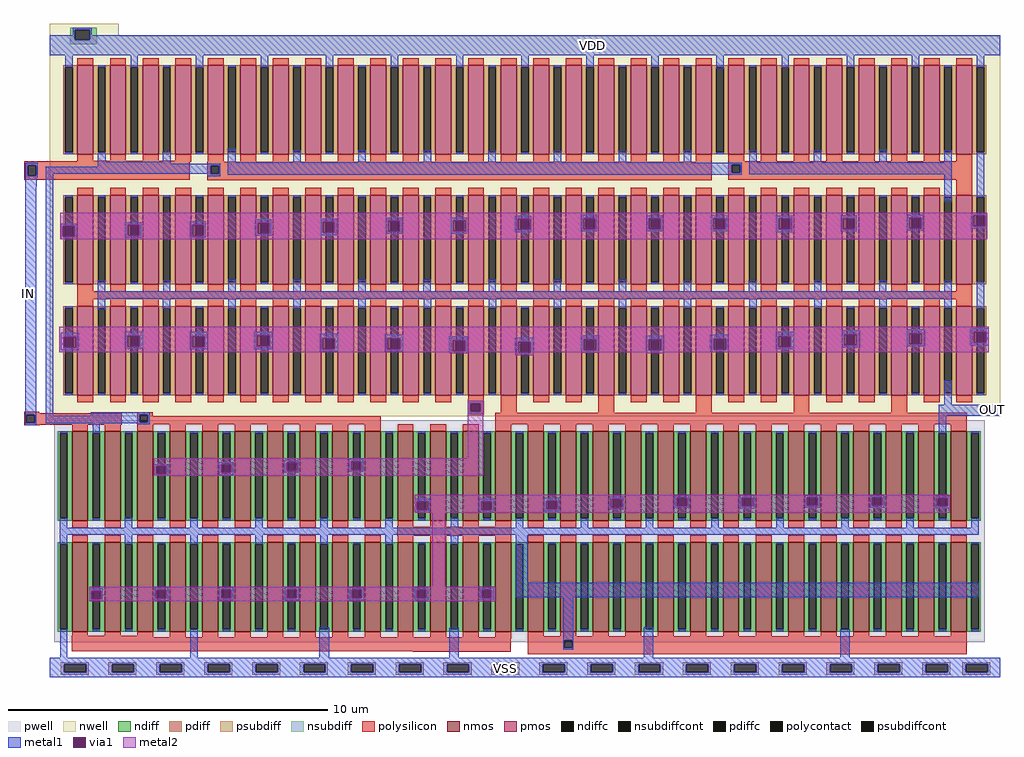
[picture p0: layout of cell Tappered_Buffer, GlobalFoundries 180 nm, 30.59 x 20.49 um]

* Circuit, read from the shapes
.subckt Tappered_Buffer VDD IN OUT VSS
XM1 OUT n1 VSS VSS nfet_03v3 w=2.8u l=0.5u m=32
XM2 n2 IN VSS VSS nfet_03v3 w=2.8u l=0.5u m=2
XM3 n1 n2 VSS VSS nfet_03v3 w=2.8u l=0.5u m=8
XM4 VSS VSS VSS VSS nfet_03v3 w=2.8u l=0.5u m=14
XM5 OUT n1 VDD VDD pfet_03v3 w=2.8u l=0.5u m=64
XM6 n2 IN VDD VDD pfet_03v3 w=2.8u l=0.5u m=4
XM7 n1 n2 VDD VDD pfet_03v3 w=2.8u l=0.5u m=16
.ends

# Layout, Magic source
magic
tech gf180mcuC
magscale 1 10
<< nwell >>
rect 0 875 434 950
rect 0 820 5956 875
rect 0 770 608 820
rect 673 770 852 820
rect 918 770 1097 820
rect 1162 770 1341 820
rect 1407 770 1586 820
rect 1652 770 1831 820
rect 1896 770 2075 820
rect 2141 770 2320 820
rect 2386 770 2565 820
rect 2630 770 2809 820
rect 2885 785 2886 820
rect 2885 772 3062 785
rect 3313 772 3495 820
rect 3733 772 3915 820
rect 4155 772 4337 820
rect 4577 772 4759 820
rect 5052 772 5234 820
rect 5527 772 5709 820
rect 0 752 434 770
<< pwell >>
rect 2920 -2260 2970 -2254
rect 3327 -2260 3381 -2253
rect 3735 -2260 3791 -2252
rect 4144 -2260 4198 -2253
rect 4551 -2260 4605 -2254
rect 4959 -2260 5014 -2254
rect 5368 -2260 5429 -2254
<< psubdiff >>
rect 68 -3064 244 -3051
rect 68 -3115 91 -3064
rect 228 -3115 244 -3064
rect 68 -3130 244 -3115
rect 368 -3064 544 -3051
rect 368 -3115 391 -3064
rect 528 -3115 544 -3064
rect 368 -3130 544 -3115
rect 668 -3064 844 -3051
rect 668 -3115 691 -3064
rect 828 -3115 844 -3064
rect 668 -3130 844 -3115
rect 968 -3064 1144 -3051
rect 968 -3115 991 -3064
rect 1128 -3115 1144 -3064
rect 968 -3130 1144 -3115
rect 1268 -3064 1444 -3051
rect 1268 -3115 1291 -3064
rect 1428 -3115 1444 -3064
rect 1268 -3130 1444 -3115
rect 1568 -3064 1744 -3051
rect 1568 -3115 1591 -3064
rect 1728 -3115 1744 -3064
rect 1568 -3130 1744 -3115
rect 1868 -3064 2044 -3051
rect 1868 -3115 1891 -3064
rect 2028 -3115 2044 -3064
rect 1868 -3130 2044 -3115
rect 2168 -3064 2344 -3051
rect 2168 -3115 2191 -3064
rect 2328 -3115 2344 -3064
rect 2168 -3130 2344 -3115
rect 2468 -3064 2644 -3051
rect 2468 -3115 2491 -3064
rect 2628 -3115 2644 -3064
rect 2468 -3130 2644 -3115
rect 2768 -3064 2944 -3051
rect 2768 -3115 2791 -3064
rect 2928 -3115 2944 -3064
rect 2768 -3130 2944 -3115
rect 3068 -3064 3244 -3051
rect 3068 -3115 3091 -3064
rect 3228 -3115 3244 -3064
rect 3068 -3130 3244 -3115
rect 3368 -3064 3544 -3051
rect 3368 -3115 3391 -3064
rect 3528 -3115 3544 -3064
rect 3368 -3130 3544 -3115
rect 3668 -3064 3844 -3051
rect 3668 -3115 3691 -3064
rect 3828 -3115 3844 -3064
rect 3668 -3130 3844 -3115
rect 3968 -3064 4144 -3051
rect 3968 -3115 3991 -3064
rect 4128 -3115 4144 -3064
rect 3968 -3130 4144 -3115
rect 4268 -3064 4444 -3051
rect 4268 -3115 4291 -3064
rect 4428 -3115 4444 -3064
rect 4268 -3130 4444 -3115
rect 4568 -3064 4744 -3051
rect 4568 -3115 4591 -3064
rect 4728 -3115 4744 -3064
rect 4568 -3130 4744 -3115
rect 4868 -3064 5044 -3051
rect 4868 -3115 4891 -3064
rect 5028 -3115 5044 -3064
rect 4868 -3130 5044 -3115
rect 5168 -3064 5344 -3051
rect 5168 -3115 5191 -3064
rect 5328 -3115 5344 -3064
rect 5168 -3130 5344 -3115
rect 5468 -3064 5644 -3051
rect 5468 -3115 5491 -3064
rect 5628 -3115 5644 -3064
rect 5468 -3130 5644 -3115
rect 5718 -3064 5894 -3051
rect 5718 -3115 5741 -3064
rect 5878 -3115 5894 -3064
rect 5718 -3130 5894 -3115
<< nsubdiff >>
rect 128 911 296 925
rect 128 850 158 911
rect 251 850 296 911
rect 128 822 296 850
<< psubdiffcont >>
rect 91 -3115 228 -3064
rect 391 -3115 528 -3064
rect 691 -3115 828 -3064
rect 991 -3115 1128 -3064
rect 1291 -3115 1428 -3064
rect 1591 -3115 1728 -3064
rect 1891 -3115 2028 -3064
rect 2191 -3115 2328 -3064
rect 2491 -3115 2628 -3064
rect 2791 -3115 2928 -3064
rect 3091 -3115 3228 -3064
rect 3391 -3115 3528 -3064
rect 3691 -3115 3828 -3064
rect 3991 -3115 4128 -3064
rect 4291 -3115 4428 -3064
rect 4591 -3115 4728 -3064
rect 4891 -3115 5028 -3064
rect 5191 -3115 5328 -3064
rect 5491 -3115 5628 -3064
rect 5741 -3115 5878 -3064
<< nsubdiffcont >>
rect 158 850 251 911
<< polysilicon >>
rect 175 91 273 120
rect 786 91 878 121
rect 173 89 878 91
rect -158 64 878 89
rect -158 -4 -137 64
rect -85 -4 878 64
rect -158 -28 878 -4
rect 988 60 4150 86
rect 988 10 1009 60
rect 1059 10 4150 60
rect -158 -29 185 -28
rect 988 -30 4150 10
rect 4254 66 5782 88
rect 4254 16 4274 66
rect 4327 16 5782 66
rect 4254 -29 5782 16
rect 5681 -99 5782 -29
rect 174 -728 477 -727
rect 174 -776 5781 -728
rect 2620 -1433 2722 -1404
rect 2620 -1479 2640 -1433
rect 2697 -1479 2722 -1433
rect -161 -1492 -66 -1482
rect -161 -1500 451 -1492
rect -161 -1552 -146 -1500
rect -93 -1552 451 -1500
rect -161 -1563 451 -1552
rect 548 -1500 645 -1487
rect 548 -1547 564 -1500
rect 616 -1511 645 -1500
rect 2620 -1505 2722 -1479
rect 2826 -1490 2926 -1424
rect 3438 -1490 3538 -1424
rect 4050 -1490 4150 -1424
rect 4662 -1490 4762 -1424
rect 5274 -1490 5374 -1424
rect 616 -1547 2076 -1511
rect 548 -1560 2076 -1547
rect 2792 -1560 5748 -1490
rect -161 -1568 -66 -1563
rect 2179 -2203 2279 -2200
rect 2179 -2260 2892 -2203
rect 138 -2895 646 -2887
rect 138 -2897 2279 -2895
rect 138 -2984 2891 -2897
rect 2276 -2985 2891 -2984
rect 2996 -2915 5748 -2890
rect 2996 -2961 3226 -2915
rect 3279 -2961 5748 -2915
rect 2996 -3001 5748 -2961
<< polycontact >>
rect -137 -4 -85 64
rect 1009 10 1059 60
rect 4274 16 4327 66
rect 2640 -1479 2697 -1433
rect -146 -1552 -93 -1500
rect 564 -1547 616 -1500
rect 3226 -2961 3279 -2915
<< metal1 >>
rect 143 911 263 924
rect 143 876 158 911
rect 0 850 158 876
rect 251 876 263 911
rect 251 850 5956 876
rect 0 753 5956 850
rect 0 752 434 753
rect 99 677 145 752
rect 507 677 553 753
rect 914 675 961 753
rect 1323 677 1369 753
rect 1731 677 1777 753
rect 2139 677 2185 753
rect 2547 677 2593 753
rect 2955 677 3001 753
rect 3363 677 3409 753
rect 3771 676 3817 753
rect 4178 666 4226 753
rect 4587 675 4633 753
rect 4995 677 5041 753
rect 5403 678 5449 753
rect 5811 678 5857 753
rect 300 86 351 136
rect 709 86 758 147
rect -153 64 -76 78
rect -153 28 -137 64
rect -154 -4 -137 28
rect -85 -4 -76 64
rect 300 73 758 86
rect 1117 82 1166 166
rect 1526 82 1573 155
rect 1934 82 1981 156
rect 2343 82 2390 156
rect 2750 82 2797 154
rect 3158 82 3205 154
rect 3566 82 3613 154
rect 3974 82 4021 155
rect 1117 79 4021 82
rect 4383 80 4430 155
rect 4789 80 4836 155
rect 5198 80 5245 159
rect 5607 80 5654 155
rect 300 60 1070 73
rect 300 54 1009 60
rect -154 -16 -76 -4
rect -24 10 1009 54
rect 1059 10 1070 60
rect -24 9 1070 10
rect -24 8 758 9
rect -154 -73 -80 -16
rect -154 -1500 -85 -73
rect -154 -1552 -146 -1500
rect -93 -1552 -85 -1500
rect -154 -1568 -85 -1552
rect -24 -1508 22 8
rect 987 -5 1070 9
rect 1117 66 4336 79
rect 1117 16 4274 66
rect 4327 16 4336 66
rect 1117 3 4336 16
rect 4383 7 5654 80
rect 5606 -164 5654 7
rect 5811 -136 5857 145
rect 68 -318 169 -304
rect 68 -387 83 -318
rect 157 -387 169 -318
rect 68 -401 169 -387
rect 474 -311 575 -294
rect 474 -380 488 -311
rect 562 -380 575 -311
rect 474 -392 575 -380
rect 879 -310 979 -289
rect 879 -379 893 -310
rect 967 -379 979 -310
rect 1289 -297 1389 -277
rect 1289 -366 1303 -297
rect 1377 -366 1389 -297
rect 1289 -378 1389 -366
rect 1699 -293 1799 -274
rect 1699 -362 1711 -293
rect 1785 -362 1799 -293
rect 1699 -375 1799 -362
rect 2109 -284 2209 -265
rect 2109 -353 2121 -284
rect 2195 -353 2209 -284
rect 2109 -366 2209 -353
rect 2515 -283 2615 -265
rect 2515 -352 2530 -283
rect 2609 -352 2615 -283
rect 2515 -366 2615 -352
rect 2918 -274 3018 -255
rect 2918 -343 2934 -274
rect 3008 -343 3018 -274
rect 2918 -356 3018 -343
rect 3328 -271 3428 -249
rect 3328 -340 3344 -271
rect 3418 -340 3428 -271
rect 3328 -350 3428 -340
rect 3743 -269 3843 -250
rect 3743 -338 3755 -269
rect 3829 -338 3843 -269
rect 3743 -351 3843 -338
rect 4147 -271 4247 -251
rect 4147 -340 4160 -271
rect 4234 -340 4247 -271
rect 4147 -352 4247 -340
rect 4555 -271 4655 -255
rect 4555 -340 4570 -271
rect 4644 -340 4655 -271
rect 4555 -356 4655 -340
rect 4958 -271 5058 -251
rect 4958 -340 4971 -271
rect 5045 -340 5058 -271
rect 4958 -352 5058 -340
rect 5374 -267 5474 -247
rect 5374 -336 5387 -267
rect 5461 -336 5474 -267
rect 5374 -348 5474 -336
rect 5775 -252 5875 -236
rect 5775 -321 5788 -252
rect 5862 -321 5875 -252
rect 5775 -337 5875 -321
rect 879 -390 979 -379
rect 302 -728 349 -658
rect 711 -728 757 -658
rect 1119 -728 1165 -651
rect 1526 -728 1572 -651
rect 1934 -728 1980 -651
rect 2342 -728 2388 -651
rect 2751 -728 2797 -653
rect 3158 -728 3204 -651
rect 3566 -728 3612 -652
rect 3975 -728 4021 -660
rect 4382 -728 4428 -662
rect 4791 -728 4837 -658
rect 5198 -728 5244 -657
rect 5606 -728 5653 -662
rect 302 -775 5653 -728
rect 302 -844 349 -775
rect 710 -836 757 -775
rect 1119 -836 1166 -775
rect 1527 -836 1574 -775
rect 1935 -835 1982 -775
rect 2343 -835 2390 -775
rect 2751 -835 2798 -775
rect 3159 -835 3206 -775
rect 3567 -835 3614 -775
rect 3975 -834 4022 -775
rect 4383 -834 4430 -775
rect 4792 -834 4839 -775
rect 5200 -834 5247 -775
rect 5606 -833 5653 -775
rect 5810 -838 5857 -667
rect 68 -1012 183 -988
rect 68 -1081 87 -1012
rect 166 -1081 183 -1012
rect 68 -1097 183 -1081
rect 471 -1006 586 -977
rect 471 -1075 486 -1006
rect 565 -1075 586 -1006
rect 471 -1086 586 -1075
rect 877 -1010 992 -981
rect 877 -1079 894 -1010
rect 973 -1079 992 -1010
rect 877 -1090 992 -1079
rect 1282 -1004 1397 -981
rect 1282 -1073 1299 -1004
rect 1378 -1073 1397 -1004
rect 1282 -1090 1397 -1073
rect 1692 -1021 1807 -995
rect 1692 -1090 1709 -1021
rect 1788 -1090 1807 -1021
rect 1692 -1104 1807 -1090
rect 2100 -1022 2215 -998
rect 2100 -1091 2117 -1022
rect 2196 -1091 2215 -1022
rect 2100 -1107 2215 -1091
rect 2504 -1033 2619 -1008
rect 2504 -1102 2525 -1033
rect 2604 -1102 2619 -1033
rect 2504 -1117 2619 -1102
rect 2918 -1043 3033 -1018
rect 2918 -1112 2937 -1043
rect 3016 -1112 3033 -1043
rect 3330 -1029 3445 -1003
rect 3330 -1098 3348 -1029
rect 3427 -1098 3445 -1029
rect 3330 -1112 3445 -1098
rect 3737 -1027 3852 -1006
rect 3737 -1096 3755 -1027
rect 3834 -1096 3852 -1027
rect 2918 -1127 3033 -1112
rect 3737 -1115 3852 -1096
rect 4139 -1024 4254 -999
rect 4139 -1093 4162 -1024
rect 4241 -1093 4254 -1024
rect 4550 -1008 4665 -981
rect 4550 -1077 4567 -1008
rect 4646 -1077 4665 -1008
rect 4550 -1090 4665 -1077
rect 4966 -996 5081 -972
rect 4966 -1065 4980 -996
rect 5059 -1065 5081 -996
rect 4966 -1081 5081 -1065
rect 5372 -990 5487 -964
rect 5372 -1059 5388 -990
rect 5467 -1059 5487 -990
rect 5372 -1073 5487 -1059
rect 5769 -982 5884 -959
rect 5769 -1051 5790 -982
rect 5869 -1051 5884 -982
rect 5769 -1068 5884 -1051
rect 4139 -1108 4254 -1093
rect 2621 -1428 2718 -1415
rect 2621 -1483 2635 -1428
rect 2702 -1483 2718 -1428
rect 5607 -1438 5654 -1286
rect 258 -1500 628 -1487
rect 2621 -1495 2718 -1483
rect 258 -1508 564 -1500
rect -24 -1547 564 -1508
rect 616 -1547 628 -1500
rect -24 -1554 628 -1547
rect 269 -1617 315 -1554
rect 548 -1560 628 -1554
rect 5572 -1509 5955 -1438
rect 5572 -1615 5619 -1509
rect 654 -1821 743 -1810
rect 654 -1874 668 -1821
rect 731 -1874 743 -1821
rect 654 -1884 743 -1874
rect 1060 -1812 1149 -1798
rect 1060 -1865 1074 -1812
rect 1137 -1865 1149 -1812
rect 1470 -1800 1559 -1785
rect 1470 -1853 1485 -1800
rect 1548 -1853 1559 -1800
rect 1470 -1863 1559 -1853
rect 1875 -1792 1964 -1778
rect 1875 -1845 1889 -1792
rect 1952 -1845 1964 -1792
rect 1875 -1856 1964 -1845
rect 1060 -1876 1149 -1865
rect 2289 -2042 2379 -2029
rect 2289 -2101 2299 -2042
rect 2368 -2101 2379 -2042
rect 2289 -2114 2379 -2101
rect 2692 -2042 2782 -2029
rect 2692 -2099 2704 -2042
rect 2771 -2099 2782 -2042
rect 2692 -2111 2782 -2099
rect 3098 -2039 3192 -2025
rect 3098 -2094 3111 -2039
rect 3181 -2094 3192 -2039
rect 3098 -2105 3192 -2094
rect 3509 -2029 3596 -2016
rect 3509 -2085 3520 -2029
rect 3586 -2085 3596 -2029
rect 3916 -2018 4006 -2005
rect 3916 -2074 3929 -2018
rect 3995 -2074 4006 -2018
rect 3916 -2085 4006 -2074
rect 4324 -2021 4415 -2006
rect 4324 -2076 4338 -2021
rect 4405 -2076 4415 -2021
rect 3509 -2095 3596 -2085
rect 4324 -2089 4415 -2076
rect 4733 -2018 4826 -2005
rect 4733 -2072 4745 -2018
rect 4814 -2072 4826 -2018
rect 4733 -2085 4826 -2072
rect 5142 -2019 5231 -2005
rect 5142 -2073 5153 -2019
rect 5219 -2073 5231 -2019
rect 5142 -2085 5231 -2073
rect 5552 -2021 5640 -2008
rect 5552 -2074 5563 -2021
rect 5629 -2074 5640 -2021
rect 5552 -2086 5640 -2074
rect 64 -2208 111 -2149
rect 472 -2208 519 -2147
rect 881 -2208 928 -2149
rect 1289 -2208 1336 -2148
rect 1696 -2208 1743 -2148
rect 2104 -2208 2151 -2149
rect 2513 -2208 2560 -2147
rect 2920 -2208 2967 -2149
rect 3328 -2208 3375 -2149
rect 3737 -2208 3784 -2149
rect 4145 -2208 4192 -2149
rect 4553 -2208 4600 -2148
rect 4961 -2208 5008 -2148
rect 5369 -2208 5416 -2147
rect 5776 -2208 5823 -2149
rect 64 -2254 5823 -2208
rect 64 -2313 111 -2254
rect 472 -2313 519 -2254
rect 881 -2313 928 -2254
rect 1289 -2312 1336 -2254
rect 1696 -2312 1743 -2254
rect 2104 -2313 2151 -2254
rect 2513 -2311 2560 -2254
rect 2921 -2553 2997 -2254
rect 248 -2603 334 -2589
rect 248 -2659 261 -2603
rect 323 -2659 334 -2603
rect 248 -2671 334 -2659
rect 657 -2598 743 -2583
rect 657 -2654 669 -2598
rect 731 -2654 743 -2598
rect 657 -2666 743 -2654
rect 1063 -2596 1149 -2582
rect 1063 -2652 1076 -2596
rect 1138 -2652 1149 -2596
rect 1063 -2665 1149 -2652
rect 1473 -2596 1560 -2583
rect 1473 -2652 1486 -2596
rect 1548 -2652 1560 -2596
rect 1473 -2665 1560 -2652
rect 1882 -2596 1969 -2582
rect 1882 -2652 1894 -2596
rect 1956 -2652 1969 -2596
rect 1882 -2664 1969 -2652
rect 2287 -2595 2374 -2581
rect 2287 -2651 2299 -2595
rect 2361 -2651 2374 -2595
rect 2287 -2663 2374 -2651
rect 2695 -2594 2782 -2580
rect 2695 -2650 2707 -2594
rect 2769 -2650 2782 -2594
rect 2921 -2645 5822 -2553
rect 2695 -2662 2782 -2650
rect 65 -3024 111 -2858
rect 881 -3024 927 -2858
rect 1691 -3024 1751 -2832
rect 2503 -3024 2563 -2835
rect 3220 -2915 3282 -2645
rect 3220 -2961 3226 -2915
rect 3279 -2961 3282 -2915
rect 3220 -2973 3282 -2961
rect 3724 -3024 3784 -2833
rect 4954 -3024 5014 -2844
rect 0 -3064 5956 -3024
rect 0 -3115 91 -3064
rect 228 -3115 391 -3064
rect 528 -3115 691 -3064
rect 828 -3115 991 -3064
rect 1128 -3115 1291 -3064
rect 1428 -3115 1591 -3064
rect 1728 -3115 1891 -3064
rect 2028 -3115 2191 -3064
rect 2328 -3115 2491 -3064
rect 2628 -3115 2791 -3064
rect 2928 -3115 3091 -3064
rect 3228 -3115 3391 -3064
rect 3528 -3115 3691 -3064
rect 3828 -3115 3991 -3064
rect 4128 -3115 4291 -3064
rect 4428 -3115 4591 -3064
rect 4728 -3115 4891 -3064
rect 5028 -3115 5191 -3064
rect 5328 -3115 5491 -3064
rect 5628 -3115 5741 -3064
rect 5878 -3115 5956 -3064
rect 0 -3147 5956 -3115
<< via1 >>
rect 83 -387 157 -318
rect 488 -380 562 -311
rect 893 -379 967 -310
rect 1303 -366 1377 -297
rect 1711 -362 1785 -293
rect 2121 -353 2195 -284
rect 2530 -352 2609 -283
rect 2934 -343 3008 -274
rect 3344 -340 3418 -271
rect 3755 -338 3829 -269
rect 4160 -340 4234 -271
rect 4570 -340 4644 -271
rect 4971 -340 5045 -271
rect 5387 -336 5461 -267
rect 5788 -321 5862 -252
rect 87 -1081 166 -1012
rect 486 -1075 565 -1006
rect 894 -1079 973 -1010
rect 1299 -1073 1378 -1004
rect 1709 -1090 1788 -1021
rect 2117 -1091 2196 -1022
rect 2525 -1102 2604 -1033
rect 2937 -1112 3016 -1043
rect 3348 -1098 3427 -1029
rect 3755 -1096 3834 -1027
rect 4162 -1093 4241 -1024
rect 4567 -1077 4646 -1008
rect 4980 -1065 5059 -996
rect 5388 -1059 5467 -990
rect 5790 -1051 5869 -982
rect 2635 -1433 2702 -1428
rect 2635 -1479 2640 -1433
rect 2640 -1479 2697 -1433
rect 2697 -1479 2702 -1433
rect 2635 -1483 2702 -1479
rect 668 -1874 731 -1821
rect 1074 -1865 1137 -1812
rect 1485 -1853 1548 -1800
rect 1889 -1845 1952 -1792
rect 2299 -2101 2368 -2042
rect 2704 -2099 2771 -2042
rect 3111 -2094 3181 -2039
rect 3520 -2085 3586 -2029
rect 3929 -2074 3995 -2018
rect 4338 -2076 4405 -2021
rect 4745 -2072 4814 -2018
rect 5153 -2073 5219 -2019
rect 5563 -2074 5629 -2021
rect 261 -2659 323 -2603
rect 669 -2654 731 -2598
rect 1076 -2652 1138 -2596
rect 1486 -2652 1548 -2596
rect 1894 -2652 1956 -2596
rect 2299 -2651 2361 -2595
rect 2707 -2650 2769 -2594
<< metal2 >>
rect 66 -252 5875 -234
rect 66 -267 5788 -252
rect 66 -269 5387 -267
rect 66 -271 3755 -269
rect 66 -274 3344 -271
rect 66 -283 2934 -274
rect 66 -284 2530 -283
rect 66 -293 2121 -284
rect 66 -297 1711 -293
rect 66 -310 1303 -297
rect 66 -311 893 -310
rect 66 -318 488 -311
rect 66 -387 83 -318
rect 157 -380 488 -318
rect 562 -379 893 -311
rect 967 -366 1303 -310
rect 1377 -362 1711 -297
rect 1785 -353 2121 -293
rect 2195 -352 2530 -284
rect 2609 -343 2934 -283
rect 3008 -340 3344 -274
rect 3418 -338 3755 -271
rect 3829 -271 5387 -269
rect 3829 -338 4160 -271
rect 3418 -340 4160 -338
rect 4234 -340 4570 -271
rect 4644 -340 4971 -271
rect 5045 -336 5387 -271
rect 5461 -321 5788 -267
rect 5862 -321 5875 -252
rect 5461 -336 5875 -321
rect 5045 -340 5875 -336
rect 3008 -343 5875 -340
rect 2609 -352 5875 -343
rect 2195 -353 5875 -352
rect 1785 -362 5875 -353
rect 1377 -366 5875 -362
rect 967 -379 5875 -366
rect 562 -380 5875 -379
rect 157 -387 5875 -380
rect 66 -400 5875 -387
rect 68 -401 169 -400
rect 61 -982 5885 -949
rect 61 -990 5790 -982
rect 61 -996 5388 -990
rect 61 -1004 4980 -996
rect 61 -1006 1299 -1004
rect 61 -1012 486 -1006
rect 61 -1081 87 -1012
rect 166 -1075 486 -1012
rect 565 -1010 1299 -1006
rect 565 -1075 894 -1010
rect 166 -1079 894 -1075
rect 973 -1073 1299 -1010
rect 1378 -1008 4980 -1004
rect 1378 -1021 4567 -1008
rect 1378 -1073 1709 -1021
rect 973 -1079 1709 -1073
rect 166 -1081 1709 -1079
rect 61 -1090 1709 -1081
rect 1788 -1022 4567 -1021
rect 1788 -1090 2117 -1022
rect 61 -1091 2117 -1090
rect 2196 -1024 4567 -1022
rect 2196 -1027 4162 -1024
rect 2196 -1029 3755 -1027
rect 2196 -1033 3348 -1029
rect 2196 -1091 2525 -1033
rect 61 -1102 2525 -1091
rect 2604 -1043 3348 -1033
rect 2604 -1102 2937 -1043
rect 61 -1108 2937 -1102
rect 2504 -1117 2619 -1108
rect 2918 -1112 2937 -1108
rect 3016 -1098 3348 -1043
rect 3427 -1096 3755 -1029
rect 3834 -1093 4162 -1027
rect 4241 -1077 4567 -1024
rect 4646 -1065 4980 -1008
rect 5059 -1059 5388 -996
rect 5467 -1051 5790 -990
rect 5869 -1051 5885 -982
rect 5467 -1059 5885 -1051
rect 5059 -1065 5885 -1059
rect 4646 -1077 5885 -1065
rect 4241 -1093 5885 -1077
rect 3834 -1096 5885 -1093
rect 3427 -1098 5885 -1096
rect 3016 -1108 5885 -1098
rect 3016 -1112 3033 -1108
rect 3330 -1112 3445 -1108
rect 2918 -1127 3033 -1112
rect 3737 -1115 3852 -1108
rect 2619 -1428 2718 -1413
rect 2619 -1483 2635 -1428
rect 2702 -1483 2718 -1428
rect 2619 -1773 2718 -1483
rect 1883 -1775 2718 -1773
rect 653 -1792 2718 -1775
rect 653 -1800 1889 -1792
rect 653 -1812 1485 -1800
rect 653 -1821 1074 -1812
rect 653 -1874 668 -1821
rect 731 -1865 1074 -1821
rect 1137 -1853 1485 -1812
rect 1548 -1845 1889 -1800
rect 1952 -1845 2718 -1792
rect 1548 -1853 2718 -1845
rect 1137 -1865 2718 -1853
rect 731 -1874 2718 -1865
rect 653 -1884 2718 -1874
rect 2289 -2018 5640 -2003
rect 2289 -2029 3929 -2018
rect 2289 -2039 3520 -2029
rect 2289 -2042 3111 -2039
rect 2289 -2101 2299 -2042
rect 2368 -2099 2704 -2042
rect 2771 -2094 3111 -2042
rect 3181 -2085 3520 -2039
rect 3586 -2074 3929 -2029
rect 3995 -2021 4745 -2018
rect 3995 -2074 4338 -2021
rect 3586 -2076 4338 -2074
rect 4405 -2072 4745 -2021
rect 4814 -2019 5640 -2018
rect 4814 -2072 5153 -2019
rect 4405 -2073 5153 -2072
rect 5219 -2021 5640 -2019
rect 5219 -2073 5563 -2021
rect 4405 -2074 5563 -2073
rect 5629 -2074 5640 -2021
rect 4405 -2076 5640 -2074
rect 3586 -2085 5640 -2076
rect 3181 -2094 5640 -2085
rect 2771 -2099 5640 -2094
rect 2368 -2101 5640 -2099
rect 2289 -2114 5640 -2101
rect 2398 -2579 2480 -2114
rect 248 -2594 2791 -2579
rect 248 -2595 2707 -2594
rect 248 -2596 2299 -2595
rect 248 -2598 1076 -2596
rect 248 -2603 669 -2598
rect 248 -2659 261 -2603
rect 323 -2654 669 -2603
rect 731 -2652 1076 -2598
rect 1138 -2652 1486 -2596
rect 1548 -2652 1894 -2596
rect 1956 -2651 2299 -2596
rect 2361 -2650 2707 -2595
rect 2769 -2650 2791 -2594
rect 2361 -2651 2791 -2650
rect 1956 -2652 2791 -2651
rect 731 -2654 2791 -2652
rect 323 -2659 2791 -2654
rect 248 -2671 2791 -2659
use nmos_3p3_7NPLVN  nmos_3p3_7NPLVN_0
transform 1 0 2944 0 1 -2580
box -2916 -348 2916 348
use nmos_3p3_8FEAMQ  nmos_3p3_8FEAMQ_0
transform 1 0 292 0 1 -1884
box -264 -348 264 348
use nmos_3p3_JEEAMQ  nmos_3p3_JEEAMQ_0
transform 1 0 1312 0 1 -1884
box -876 -348 876 348
use nmos_3p3_PLQLVN  nmos_3p3_PLQLVN_0
transform 1 0 3964 0 1 -1884
box -1896 -348 1896 348
use pmos_3p3_MDMPD7  pmos_3p3_MDMPD7_0
transform 1 0 2978 0 1 -752
box -2978 -758 2978 758
use pmos_3p3_MV44E7  pmos_3p3_MV44E7_0
transform 1 0 2570 0 1 410
box -1754 -410 1754 410
use pmos_3p3_PPYSL5  pmos_3p3_PPYSL5_0
transform 1 0 530 0 1 410
box -530 -410 530 410
use pmos_3p3_PPZSL5  pmos_3p3_PPZSL5_0
transform 1 0 5018 0 1 410
box -938 -410 938 410
<< labels >>
flabel metal1 -131 -741 -131 -741 0 FreeSans 480 0 0 0 IN
port 2 nsew
flabel metal1 5909 -1469 5909 -1469 0 FreeSans 480 0 0 0 OUT
port 3 nsew
flabel psubdiffcont 2859 -3090 2859 -3090 0 FreeSans 480 0 0 0 VSS
port 4 nsew
flabel metal1 3404 811 3404 811 0 FreeSans 480 0 0 0 VDD
port 1 nsew
<< end >>

# cell nmos_3p3_7NPLVN: kit device nmos_3p3, w 2.8 l 0.5 m 1 nf 28 diffcov 100 polycov 100 guard 0 glc 0 grc 0 gtc 0 gbc 0 tbcov 100 rlcov 100 topc 0 botc 0 poverlap 0 doverlap 1 lmin 0.28 wmin 0.22 full_metal 0 compatible {nmos_3p3 nmos_6p0 nmos_6p0_nat}

# cell nmos_3p3_8FEAMQ: kit device nmos_3p3, w 2.8 l 0.5 m 1 nf 2 diffcov 100 polycov 100 guard 0 glc 0 grc 0 gtc 0 gbc 0 tbcov 100 rlcov 100 topc 0 botc 0 poverlap 0 doverlap 1 lmin 0.28 wmin 0.22 full_metal 0 compatible {nmos_3p3 nmos_6p0 nmos_6p0_nat}

# cell nmos_3p3_JEEAMQ: kit device nmos_3p3, w 2.8 l 0.5 m 1 nf 8 diffcov 100 polycov 100 guard 0 glc 0 grc 0 gtc 0 gbc 0 tbcov 100 rlcov 100 topc 0 botc 0 poverlap 0 doverlap 1 lmin 0.28 wmin 0.22 full_metal 0 compatible {nmos_3p3 nmos_6p0 nmos_6p0_nat}

# cell nmos_3p3_PLQLVN: kit device nmos_3p3, w 2.8 l 0.5 m 1 nf 18 diffcov 100 polycov 100 guard 0 glc 0 grc 0 gtc 0 gbc 0 tbcov 100 rlcov 100 topc 0 botc 0 poverlap 0 doverlap 1 lmin 0.28 wmin 0.22 full_metal 0 compatible {nmos_3p3 nmos_6p0 nmos_6p0_nat}

# cell pmos_3p3_MDMPD7: kit device pmos_3p3, w 2.8 l 0.5 m 2 nf 28 diffcov 100 polycov 100 guard 0 glc 0 grc 0 gtc 0 gbc 0 tbcov 100 rlcov 100 topc 0 botc 0 poverlap 0 doverlap 1 lmin 0.28 wmin 0.22 full_metal 0 compatible {pmos_3p3 pmos_6p0}

# cell pmos_3p3_MV44E7: kit device pmos_3p3, w 2.8 l 0.5 m 1 nf 16 diffcov 100 polycov 100 guard 0 glc 0 grc 0 gtc 0 gbc 0 tbcov 100 rlcov 100 topc 0 botc 0 poverlap 0 doverlap 1 lmin 0.28 wmin 0.22 full_metal 0 compatible {pmos_3p3 pmos_6p0}

# cell pmos_3p3_PPYSL5: kit device pmos_3p3, w 2.8 l 0.5 m 1 nf 4 diffcov 100 polycov 100 guard 0 glc 0 grc 0 gtc 0 gbc 0 tbcov 100 rlcov 100 topc 0 botc 0 poverlap 0 doverlap 1 lmin 0.28 wmin 0.22 full_metal 0 compatible {pmos_3p3 pmos_6p0}

# cell pmos_3p3_PPZSL5: kit device pmos_3p3, w 2.8 l 0.5 m 1 nf 8 diffcov 100 polycov 100 guard 0 glc 0 grc 0 gtc 0 gbc 0 tbcov 100 rlcov 100 topc 0 botc 0 poverlap 0 doverlap 1 lmin 0.28 wmin 0.22 full_metal 0 compatible {pmos_3p3 pmos_6p0}
